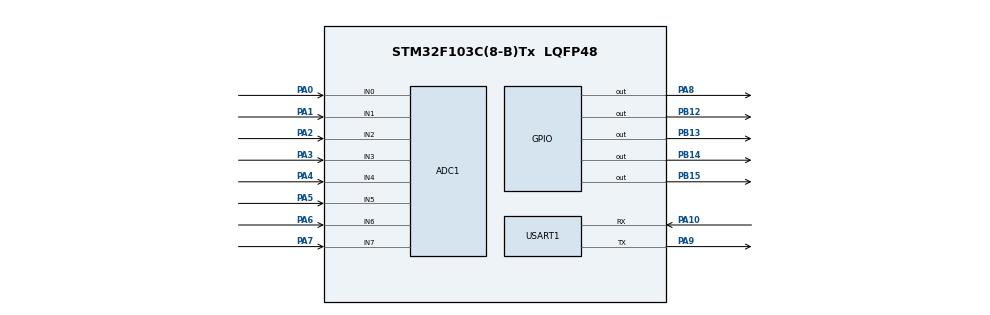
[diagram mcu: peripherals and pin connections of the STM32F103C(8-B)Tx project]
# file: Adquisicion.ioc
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ADC1.Channel-0\#ChannelRegularConversion=ADC_CHANNEL_4
ADC1.ContinuousConvMode=ENABLE
ADC1.NbrOfConversionFlag=1
ADC1.Rank-0\#ChannelRegularConversion=1
ADC1.SamplingTime-0\#ChannelRegularConversion=ADC_SAMPLETIME_1CYCLE_5
ADC1.master=1
Mcu.Family=STM32F1
Mcu.Name=STM32F103C(8-B)Tx
Mcu.Package=LQFP48
NVIC.PriorityGroup=NVIC_PRIORITYGROUP_4
NVIC.USART1_IRQn=true\:0\:0\:false\:false\:true\:true\:true\:true
PA0-WKUP.Signal=ADCx_IN0
PA1.Signal=ADCx_IN1
PA10.Mode=Asynchronous
PA10.Signal=USART1_RX
PA13.Mode=Serial_Wire
PA13.Signal=SYS_JTMS-SWDIO
PA14.Mode=Serial_Wire
PA14.Signal=SYS_JTCK-SWCLK
PA2.Signal=ADCx_IN2
PA3.Signal=ADCx_IN3
PA4.Signal=ADCx_IN4
PA5.Signal=ADCx_IN5
PA6.Signal=ADCx_IN6
PA7.Signal=ADCx_IN7
PA8.GPIO_PuPd=GPIO_PULLDOWN
PA8.Signal=GPIO_Output
PA9.Mode=Asynchronous
PA9.Signal=USART1_TX
PB12.GPIO_PuPd=GPIO_PULLDOWN
PB12.Signal=GPIO_Output
PB13.GPIO_PuPd=GPIO_PULLDOWN
PB13.Signal=GPIO_Output
PB14.GPIO_PuPd=GPIO_PULLDOWN
PB14.Signal=GPIO_Output
PB15.GPIO_PuPd=GPIO_PULLDOWN
PB15.Signal=GPIO_Output
ProjectManager.HeapSize=0x200
ProjectManager.StackSize=0x400
ProjectManager.TargetToolchain=STM32CubeIDE
RCC.APB1Freq_Value=8000000
RCC.APB2Freq_Value=8000000
SH.ADCx_IN0.0=ADC1_IN0,IN0
SH.ADCx_IN1.0=ADC1_IN1,IN1
SH.ADCx_IN2.0=ADC1_IN2,IN2
SH.ADCx_IN3.0=ADC1_IN3,IN3
SH.ADCx_IN4.0=ADC1_IN4,IN4
SH.ADCx_IN5.0=ADC1_IN5,IN5
SH.ADCx_IN6.0=ADC1_IN6,IN6
SH.ADCx_IN7.0=ADC1_IN7,IN7
USART1.VirtualMode=VM_ASYNC
board=custom

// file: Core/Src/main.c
/* USER CODE BEGIN Header */
/**
  ******************************************************************************
  * @file           : main.c
  * @brief          : Main program body
  ******************************************************************************
  * @attention
  *
  * Copyright (c) 2023 STMicroelectronics.
  * All rights reserved.
  *
  * This software is licensed under terms that can be found in the LICENSE file
  * in the root directory of this software component.
  * If no LICENSE file comes with this software, it is provided AS-IS.
  *
  ******************************************************************************
  */
/* USER CODE END Header */
#include "main.h"

ADC_HandleTypeDef hadc1;

UART_HandleTypeDef huart1;

/* USER CODE BEGIN PV */
uint16_t count = 0;
volatile uint8_t rx_byte;
volatile uint8_t rx2_byte[20];
volatile uint16_t tx_byte;
volatile uint8_t valor = 0;
uint32_t readValue1;
uint32_t readValue2;
uint32_t readValue3;
uint32_t readValue4;
uint32_t readValue5;
uint32_t readValue6;
uint32_t readValue7;
uint32_t readValue8;
uint16_t value = 0;
ADC_ChannelConfTypeDef sConfigPrivate = {0};
/* USER CODE END PV */

void SystemClock_Config(void);
static void MX_GPIO_Init(void);
static void MX_ADC1_Init(void);
static void MX_USART1_UART_Init(void);
/* USER CODE BEGIN PFP */
void Receiver(uint8_t dato);
/* USER CODE END PFP */

int main(void)
{

  /* MCU Configuration--------------------------------------------------------*/

  /* Reset of all peripherals, Initializes the Flash interface and the Systick. */
  HAL_Init();

  /* Configure the system clock */
  SystemClock_Config();

  /* Initialize all configured peripherals */
  MX_GPIO_Init();
  MX_ADC1_Init();
  MX_USART1_UART_Init();
  /* USER CODE BEGIN 2 */
  HAL_UART_Receive_IT(&huart1, (uint8_t *)(&rx_byte), 1);
  HAL_UART_Transmit_IT(&huart1, (uint8_t *)(&tx_byte), 4);
  /* USER CODE END 2 */

  /* Infinite loop */
  /* USER CODE BEGIN WHILE */
  while (1)
  {
	  	  sConfigPrivate.Rank = ADC_REGULAR_RANK_1;
	  	  sConfigPrivate.SamplingTime = ADC_SAMPLETIME_1CYCLE_5;

	  	  sConfigPrivate.Channel = ADC_CHANNEL_7;
	  	  HAL_ADC_ConfigChannel(&hadc1, &sConfigPrivate);
	  	  HAL_ADC_Start(&hadc1);
	  	  HAL_ADC_PollForConversion(&hadc1,1000);
	  	  readValue8 = HAL_ADC_GetValue(&hadc1);
	  	  HAL_ADC_Stop(&hadc1);

	  	  sConfigPrivate.Channel = ADC_CHANNEL_6;
	  	  HAL_ADC_ConfigChannel(&hadc1, &sConfigPrivate);
	  	  HAL_ADC_Start(&hadc1);
	  	  HAL_ADC_PollForConversion(&hadc1,1000);
	  	  readValue7 = HAL_ADC_GetValue(&hadc1);
	  	  HAL_ADC_Stop(&hadc1);

	  	  sConfigPrivate.Channel = ADC_CHANNEL_5;
	  	  HAL_ADC_ConfigChannel(&hadc1, &sConfigPrivate);
	  	  HAL_ADC_Start(&hadc1);
	  	  HAL_ADC_PollForConversion(&hadc1,1000);
	  	  readValue6 = HAL_ADC_GetValue(&hadc1);
	  	  HAL_ADC_Stop(&hadc1);

	  	  sConfigPrivate.Channel = ADC_CHANNEL_4;
	  	  HAL_ADC_ConfigChannel(&hadc1, &sConfigPrivate);
	  	  HAL_ADC_Start(&hadc1);
	  	  HAL_ADC_PollForConversion(&hadc1,1000);
	  	  readValue5 = HAL_ADC_GetValue(&hadc1);
	  	  HAL_ADC_Stop(&hadc1);

	  	  sConfigPrivate.Channel = ADC_CHANNEL_3;
	  	  HAL_ADC_ConfigChannel(&hadc1, &sConfigPrivate);
	  	  HAL_ADC_Start(&hadc1);
	  	  HAL_ADC_PollForConversion(&hadc1,1000);
	  	  readValue4 = HAL_ADC_GetValue(&hadc1);
	  	  HAL_ADC_Stop(&hadc1);

	  	  sConfigPrivate.Channel = ADC_CHANNEL_2;
	  	  HAL_ADC_ConfigChannel(&hadc1, &sConfigPrivate);
	  	  HAL_ADC_Start(&hadc1);
	  	  HAL_ADC_PollForConversion(&hadc1,1000);
	  	  readValue3 = HAL_ADC_GetValue(&hadc1);
	  	  HAL_ADC_Stop(&hadc1);

	  	  sConfigPrivate.Channel = ADC_CHANNEL_1;
	  	  HAL_ADC_ConfigChannel(&hadc1, &sConfigPrivate);
	  	  HAL_ADC_Start(&hadc1);
	  	  HAL_ADC_PollForConversion(&hadc1,1000);
	  	  readValue2 = HAL_ADC_GetValue(&hadc1);
	  	  HAL_ADC_Stop(&hadc1);

	  	  sConfigPrivate.Channel = ADC_CHANNEL_0;
	  	  HAL_ADC_ConfigChannel(&hadc1, &sConfigPrivate);
	  	  HAL_ADC_Start(&hadc1);
	  	  HAL_ADC_PollForConversion(&hadc1,1000);
	  	  readValue1 = HAL_ADC_GetValue(&hadc1);
	  	  HAL_ADC_Stop(&hadc1);
    /* USER CODE END WHILE */

    /* USER CODE BEGIN 3 */
		  if(rx_byte){
			  Receiver(rx_byte);
			  rx_byte = 0;
			  HAL_UART_Receive_IT(&huart1, (uint8_t *)(&rx_byte), 1);
		  }
  }
  /* USER CODE END 3 */
}

void SystemClock_Config(void)
{
  RCC_OscInitTypeDef RCC_OscInitStruct = {0};
  RCC_ClkInitTypeDef RCC_ClkInitStruct = {0};
  RCC_PeriphCLKInitTypeDef PeriphClkInit = {0};

  /** Initializes the RCC Oscillators according to the specified parameters
  * in the RCC_OscInitTypeDef structure.
  */
  RCC_OscInitStruct.OscillatorType = RCC_OSCILLATORTYPE_HSI;
  RCC_OscInitStruct.HSIState = RCC_HSI_ON;
  RCC_OscInitStruct.HSICalibrationValue = RCC_HSICALIBRATION_DEFAULT;
  RCC_OscInitStruct.PLL.PLLState = RCC_PLL_NONE;
  if (HAL_RCC_OscConfig(&RCC_OscInitStruct) != HAL_OK)
  {
    Error_Handler();
  }

  /** Initializes the CPU, AHB and APB buses clocks
  */
  RCC_ClkInitStruct.ClockType = RCC_CLOCKTYPE_HCLK|RCC_CLOCKTYPE_SYSCLK
                              |RCC_CLOCKTYPE_PCLK1|RCC_CLOCKTYPE_PCLK2;
  RCC_ClkInitStruct.SYSCLKSource = RCC_SYSCLKSOURCE_HSI;
  RCC_ClkInitStruct.AHBCLKDivider = RCC_SYSCLK_DIV1;
  RCC_ClkInitStruct.APB1CLKDivider = RCC_HCLK_DIV1;
  RCC_ClkInitStruct.APB2CLKDivider = RCC_HCLK_DIV1;

  if (HAL_RCC_ClockConfig(&RCC_ClkInitStruct, FLASH_LATENCY_0) != HAL_OK)
  {
    Error_Handler();
  }
  PeriphClkInit.PeriphClockSelection = RCC_PERIPHCLK_ADC;
  PeriphClkInit.AdcClockSelection = RCC_ADCPCLK2_DIV2;
  if (HAL_RCCEx_PeriphCLKConfig(&PeriphClkInit) != HAL_OK)
  {
    Error_Handler();
  }
}

static void MX_ADC1_Init(void)
{

  ADC_ChannelConfTypeDef sConfig = {0};

  /** Common config
  */
  hadc1.Instance = ADC1;
  hadc1.Init.ScanConvMode = ADC_SCAN_DISABLE;
  hadc1.Init.ContinuousConvMode = ENABLE;
  hadc1.Init.DiscontinuousConvMode = DISABLE;
  hadc1.Init.ExternalTrigConv = ADC_SOFTWARE_START;
  hadc1.Init.DataAlign = ADC_DATAALIGN_RIGHT;
  hadc1.Init.NbrOfConversion = 1;
  if (HAL_ADC_Init(&hadc1) != HAL_OK)
  {
    Error_Handler();
  }

  /** Configure Regular Channel
  */
  sConfig.Channel = ADC_CHANNEL_4;
  sConfig.Rank = ADC_REGULAR_RANK_1;
  sConfig.SamplingTime = ADC_SAMPLETIME_1CYCLE_5;
  if (HAL_ADC_ConfigChannel(&hadc1, &sConfig) != HAL_OK)
  {
    Error_Handler();
  }

}

static void MX_USART1_UART_Init(void)
{

  huart1.Instance = USART1;
  huart1.Init.BaudRate = 115200;
  huart1.Init.WordLength = UART_WORDLENGTH_8B;
  huart1.Init.StopBits = UART_STOPBITS_1;
  huart1.Init.Parity = UART_PARITY_NONE;
  huart1.Init.Mode = UART_MODE_TX_RX;
  huart1.Init.HwFlowCtl = UART_HWCONTROL_NONE;
  huart1.Init.OverSampling = UART_OVERSAMPLING_16;
  if (HAL_UART_Init(&huart1) != HAL_OK)
  {
    Error_Handler();
  }

}

static void MX_GPIO_Init(void)
{
  GPIO_InitTypeDef GPIO_InitStruct = {0};

  /* GPIO Ports Clock Enable */
  __HAL_RCC_GPIOA_CLK_ENABLE();
  __HAL_RCC_GPIOB_CLK_ENABLE();

  /*Configure GPIO pin Output Level */
  HAL_GPIO_WritePin(GPIOB, GPIO_PIN_12|GPIO_PIN_13|GPIO_PIN_14|GPIO_PIN_15, GPIO_PIN_RESET);

  /*Configure GPIO pin Output Level */
  HAL_GPIO_WritePin(GPIOA, GPIO_PIN_8, GPIO_PIN_RESET);

  /*Configure GPIO pins : PB12 PB13 PB14 PB15 */
  GPIO_InitStruct.Pin = GPIO_PIN_12|GPIO_PIN_13|GPIO_PIN_14|GPIO_PIN_15;
  GPIO_InitStruct.Mode = GPIO_MODE_OUTPUT_PP;
  GPIO_InitStruct.Pull = GPIO_PULLDOWN;
  GPIO_InitStruct.Speed = GPIO_SPEED_FREQ_LOW;
  HAL_GPIO_Init(GPIOB, &GPIO_InitStruct);

  /*Configure GPIO pin : PA8 */
  GPIO_InitStruct.Pin = GPIO_PIN_8;
  GPIO_InitStruct.Mode = GPIO_MODE_OUTPUT_PP;
  GPIO_InitStruct.Pull = GPIO_PULLDOWN;
  GPIO_InitStruct.Speed = GPIO_SPEED_FREQ_LOW;
  HAL_GPIO_Init(GPIOA, &GPIO_InitStruct);

}

/* USER CODE BEGIN 4 */
void Analizador (void);

void Receiver(uint8_t dato){
	static index = 0;

	if(rx_byte == '#'){
		rx2_byte[0] = rx_byte;
		index = 1;
	}else if(rx_byte == '*'){
		rx2_byte[index++] = rx_byte;
		rx2_byte[index] = 0;
		index = 0;
		Analizador();
	}else if(index != 0){
		rx2_byte[index++] = rx_byte;
	}
}

void Analizador (void){
	int resu;

	do{
		if(strcmp((const char *)(rx2_byte),"#TEMP*") == 0){
			HAL_GPIO_WritePin(GPIOA,GPIO_PIN_8, GPIO_PIN_SET);
			HAL_GPIO_WritePin(GPIOB,GPIO_PIN_15, GPIO_PIN_RESET);
			HAL_GPIO_WritePin(GPIOB,GPIO_PIN_14, GPIO_PIN_RESET);
			HAL_GPIO_WritePin(GPIOB,GPIO_PIN_13, GPIO_PIN_RESET);
			HAL_GPIO_WritePin(GPIOB,GPIO_PIN_12, GPIO_PIN_RESET);
			tx_byte = readValue1;
			HAL_UART_Transmit_IT(&huart1, (uint8_t *)(&tx_byte), 4);
			valor = 1;
			break;
		}
		if(strcmp((const char *)(rx2_byte),"#ANEMOMETER*") == 0){
			HAL_GPIO_WritePin(GPIOA,GPIO_PIN_8, GPIO_PIN_RESET);
			HAL_GPIO_WritePin(GPIOB,GPIO_PIN_15, GPIO_PIN_SET);
			HAL_GPIO_WritePin(GPIOB,GPIO_PIN_14, GPIO_PIN_RESET);
			HAL_GPIO_WritePin(GPIOB,GPIO_PIN_13, GPIO_PIN_RESET);
			HAL_GPIO_WritePin(GPIOB,GPIO_PIN_12, GPIO_PIN_RESET);
			tx_byte = readValue2;
			HAL_UART_Transmit_IT(&huart1, (uint8_t *)(&tx_byte), 4);
			valor = 2;
			break;
		}
		if(strcmp((const char *)(rx2_byte),"#RAIN_DROP*") == 0){
			HAL_GPIO_WritePin(GPIOA,GPIO_PIN_8, GPIO_PIN_RESET);
			HAL_GPIO_WritePin(GPIOB,GPIO_PIN_15, GPIO_PIN_RESET);
			HAL_GPIO_WritePin(GPIOB,GPIO_PIN_14, GPIO_PIN_SET);
			HAL_GPIO_WritePin(GPIOB,GPIO_PIN_13, GPIO_PIN_RESET);
			HAL_GPIO_WritePin(GPIOB,GPIO_PIN_12, GPIO_PIN_RESET);
			tx_byte = readValue3;
			HAL_UART_Transmit_IT(&huart1, (uint8_t *)(&tx_byte), 4);
			valor = 2;
			break;
		}
		if(strcmp((const char *)(rx2_byte),"#SOIL_MOISTURE*") == 0){
			HAL_GPIO_WritePin(GPIOA,GPIO_PIN_8, GPIO_PIN_RESET);
			HAL_GPIO_WritePin(GPIOB,GPIO_PIN_15, GPIO_PIN_RESET);
			HAL_GPIO_WritePin(GPIOB,GPIO_PIN_14, GPIO_PIN_RESET);
			HAL_GPIO_WritePin(GPIOB,GPIO_PIN_13, GPIO_PIN_SET);
			HAL_GPIO_WritePin(GPIOB,GPIO_PIN_12, GPIO_PIN_RESET);
			tx_byte = readValue4;
			HAL_UART_Transmit_IT(&huart1, (uint8_t *)(&tx_byte), 4);
			valor = 2;
			break;
		}
		if(strcmp((const char *)(rx2_byte),"#UV_LEVEL*") == 0){
			HAL_GPIO_WritePin(GPIOA,GPIO_PIN_8, GPIO_PIN_RESET);
			HAL_GPIO_WritePin(GPIOB,GPIO_PIN_15, GPIO_PIN_RESET);
			HAL_GPIO_WritePin(GPIOB,GPIO_PIN_14, GPIO_PIN_RESET);
			HAL_GPIO_WritePin(GPIOB,GPIO_PIN_13, GPIO_PIN_RESET);
			HAL_GPIO_WritePin(GPIOB,GPIO_PIN_12, GPIO_PIN_SET);
			tx_byte = readValue5;
			HAL_UART_Transmit_IT(&huart1, (uint8_t *)(&tx_byte), 4);
			valor = 2;
			break;
		}
		if(strcmp((const char *)(rx2_byte),"#EXIT*") == 0){
			HAL_GPIO_WritePin(GPIOA,GPIO_PIN_8, GPIO_PIN_RESET);
			HAL_GPIO_WritePin(GPIOB,GPIO_PIN_15, GPIO_PIN_RESET);
			HAL_GPIO_WritePin(GPIOB,GPIO_PIN_14, GPIO_PIN_RESET);
			HAL_GPIO_WritePin(GPIOB,GPIO_PIN_13, GPIO_PIN_RESET);
			HAL_GPIO_WritePin(GPIOB,GPIO_PIN_12, GPIO_PIN_RESET);
			rx_byte = 0;
			tx_byte = 0;
			break;
		}

	}while(0);
}
/*
	if(dato == '1')
	{
		HAL_GPIO_WritePin(GPIOA,GPIO_PIN_8, GPIO_PIN_SET);
		HAL_GPIO_WritePin(GPIOB,GPIO_PIN_15, GPIO_PIN_RESET);
		HAL_GPIO_WritePin(GPIOB,GPIO_PIN_14, GPIO_PIN_RESET);
		HAL_GPIO_WritePin(GPIOB,GPIO_PIN_13, GPIO_PIN_RESET);
		HAL_GPIO_WritePin(GPIOB,GPIO_PIN_12, GPIO_PIN_RESET);
		tx_byte = readValue7;
		HAL_UART_Transmit_IT(&huart1, (uint8_t *)(&tx_byte), 3);
		valor = 1;
	}
	if(dato == '2')
	{
		HAL_GPIO_WritePin(GPIOA,GPIO_PIN_8, GPIO_PIN_RESET);
		HAL_GPIO_WritePin(GPIOB,GPIO_PIN_15, GPIO_PIN_SET);
		HAL_GPIO_WritePin(GPIOB,GPIO_PIN_14, GPIO_PIN_RESET);
		HAL_GPIO_WritePin(GPIOB,GPIO_PIN_13, GPIO_PIN_RESET);
		HAL_GPIO_WritePin(GPIOB,GPIO_PIN_12, GPIO_PIN_RESET);
		tx_byte = readValue2;
		HAL_UART_Transmit_IT(&huart1, (uint8_t *)(&tx_byte), 3);
		valor = 2;
	}
	if(dato == '3')
	{
		HAL_GPIO_WritePin(GPIOA,GPIO_PIN_8, GPIO_PIN_RESET);
		HAL_GPIO_WritePin(GPIOB,GPIO_PIN_15, GPIO_PIN_RESET);
		HAL_GPIO_WritePin(GPIOB,GPIO_PIN_14, GPIO_PIN_SET);
		HAL_GPIO_WritePin(GPIOB,GPIO_PIN_13, GPIO_PIN_RESET);
		HAL_GPIO_WritePin(GPIOB,GPIO_PIN_12, GPIO_PIN_RESET);
		tx_byte = readValue3;
		HAL_UART_Transmit_IT(&huart1, (uint8_t *)(&tx_byte), 3);
		valor = 3;
	}
	if (dato == '4')
	{
		HAL_GPIO_WritePin(GPIOA,GPIO_PIN_8, GPIO_PIN_RESET);
		HAL_GPIO_WritePin(GPIOB,GPIO_PIN_15, GPIO_PIN_RESET);
		HAL_GPIO_WritePin(GPIOB,GPIO_PIN_14, GPIO_PIN_RESET);
		HAL_GPIO_WritePin(GPIOB,GPIO_PIN_13, GPIO_PIN_SET);
		HAL_GPIO_WritePin(GPIOB,GPIO_PIN_12, GPIO_PIN_RESET);
		tx_byte = readValue4;
		HAL_UART_Transmit_IT(&huart1, (uint8_t *)(&tx_byte), 3);
	}
	if (dato == '5')
	{
		HAL_GPIO_WritePin(GPIOA,GPIO_PIN_8, GPIO_PIN_RESET);
		HAL_GPIO_WritePin(GPIOB,GPIO_PIN_15, GPIO_PIN_RESET);
		HAL_GPIO_WritePin(GPIOB,GPIO_PIN_14, GPIO_PIN_RESET);
		HAL_GPIO_WritePin(GPIOB,GPIO_PIN_13, GPIO_PIN_RESET);
		HAL_GPIO_WritePin(GPIOB,GPIO_PIN_12, GPIO_PIN_SET);
		tx_byte = readValue5;
		HAL_UART_Transmit_IT(&huart1, (uint8_t *)(&tx_byte), 3);
	}
	if (dato == '6')
	{
		HAL_GPIO_WritePin(GPIOA,GPIO_PIN_8, GPIO_PIN_SET);
		HAL_GPIO_WritePin(GPIOB,GPIO_PIN_15, GPIO_PIN_SET);
		HAL_GPIO_WritePin(GPIOB,GPIO_PIN_14, GPIO_PIN_RESET);
		HAL_GPIO_WritePin(GPIOB,GPIO_PIN_13, GPIO_PIN_RESET);
		HAL_GPIO_WritePin(GPIOB,GPIO_PIN_12, GPIO_PIN_RESET);
		tx_byte = readValue6;
		HAL_UART_Transmit_IT(&huart1, (uint8_t *)(&tx_byte), 3);
	}
	if (dato == '7')
	{
		HAL_GPIO_WritePin(GPIOA,GPIO_PIN_8, GPIO_PIN_RESET);
		HAL_GPIO_WritePin(GPIOB,GPIO_PIN_15, GPIO_PIN_SET);
		HAL_GPIO_WritePin(GPIOB,GPIO_PIN_14, GPIO_PIN_SET);
		HAL_GPIO_WritePin(GPIOB,GPIO_PIN_13, GPIO_PIN_RESET);
		HAL_GPIO_WritePin(GPIOB,GPIO_PIN_12, GPIO_PIN_RESET);
		tx_byte = readValue7;
		HAL_UART_Transmit_IT(&huart1, (uint8_t *)(&tx_byte), 3);
	}
	if (dato == '8')
	{
		HAL_GPIO_WritePin(GPIOA,GPIO_PIN_8, GPIO_PIN_RESET);
		HAL_GPIO_WritePin(GPIOB,GPIO_PIN_15, GPIO_PIN_RESET);
		HAL_GPIO_WritePin(GPIOB,GPIO_PIN_14, GPIO_PIN_RESET);
		HAL_GPIO_WritePin(GPIOB,GPIO_PIN_13, GPIO_PIN_RESET);
		HAL_GPIO_WritePin(GPIOB,GPIO_PIN_12, GPIO_PIN_RESET);
		tx_byte = readValue8;
		HAL_UART_Transmit_IT(&huart1, (uint8_t *)(&tx_byte), 3);
	}
}
*/
/* USER CODE END 4 */

void Error_Handler(void)
{
  __disable_irq();
  while (1)
  {
  }
}
